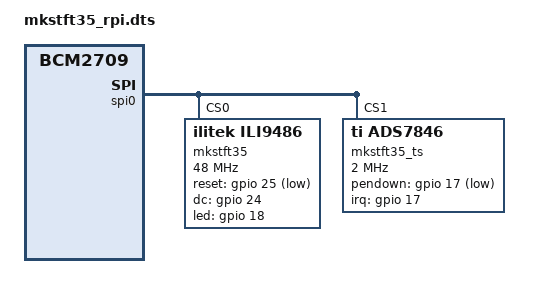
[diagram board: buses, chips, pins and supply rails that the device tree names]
/*
 * Device Tree overlay for MKS TFT35 V1.0 - 3.5inch IPS LCD
 * Driver LCD - ilitek ili9488
 * Driver touchscreen - ads7846 (xpt2046)
 * info: http://hardlock.org.ua/TFT35
 * uncomment this line in /boot/config.txt
 * "dtparam=spi=on"
 * this option will enable SPI0
 */

/dts-v1/;
/plugin/;

/ {
	compatible = "brcm,bcm2835", "brcm,bcm2708", "brcm,bcm2709";

	fragment@0 {
		target = <&spi0>;
		__overlay__ {
			status = "okay";

			spidev@0 {
				status = "disabled";
			};

			spidev@1 {
				status = "disabled";
			};
		};
	};

	fragment@1 {
		target = <&gpio>;
		__overlay__ {
			mkstft35_pins: mkstft35_pins {
				brcm,pins = <18 25 24 17>;
				brcm,function = <1 1 1 0>; /* out out out in */
			};
		};
	};

	fragment@2 {
		target = <&spi0>;
		__overlay__ {
			/* needed to avoid dtc warning */
			#address-cells = <1>;
			#size-cells = <0>;

			mkstft35: mkstft35@0 {
				compatible = "ilitek,ili9486";
				reg = <0>;
				pinctrl-names = "default";
				pinctrl-0 = <&mkstft35_pins>;

				spi-max-frequency = <48000000>;
				//txbuflen = <32768>;
				rotate = <90>;
				bgr;
				fps = <30>;
				buswidth = <8>;
				regwidth = <16>;
				reset-gpios = <&gpio 25 1>;
				dc-gpios = <&gpio 24 0>;
				led-gpios = <&gpio 18 0>;
				debug = <0>;

				init = <
					0x10000E0   	//Positive Gamma Control 
					//0x00 0x07 0x0C 0x05 0x13 0x09 0x36 0xAA 0x46 0x09 0x10 0x0D 0x1A 0x1E 0x0F 	//from datasheet
					0x00 0x03 0x09 0x08 0x16 0x0A 0x3F 0x78 0x4C 0x09 0x0A 0x08 0x16 0x1A 0x0F 		//from https://github.com/notro/fbtft/issues/582#issuecomment-1060819893
					
					0x10000E1 		//Negative Gamma Control
					//0x00 0x20 0x23 0x04 0x10 0x06 0x37 0x56 0x49 0x04 0x0C 0x0A 0x33 0x37 0x0F 	//from datasheet
					0x00 0x16 0x19 0x03 0x0F 0x05 0x32 0x45 0x46 0x04 0x0E 0x0D 0x35 0x37 0x0F		//from https://github.com/notro/fbtft/issues/582#issuecomment-1060819893
					
					0x10000C0  		//Power Control 1
					0x17 0x15
					
					0x10000C1  		//Power Control 2
					0x41
					
					0x10000C5  		//VCOM Control 1
					0x00 0x12 0x80
					
					0x1000036		//Memory Access Control
					0x48			// MV, BGR (landscape)
					
					0x100003A 		//INTERFACE_PIXEL_FORMAT (0x66) - 262k color
					//0x66			// 18 bit colour for SPI
					0x55  		// 16 bit colour for parallel
					
					//0x10000B0 		//Interface Mode Control 219 page. 0x80 - SDO (MOSI) pin not used.
					//0x80
					
					0x10000B1 		//Frame Rate Control
					0xA0
					
					0x10000B4 		//Display Inversion Control
					0x02
					
					0x10000B6 		//Display Function Control
					0x02 0x02 0x3B
					
					0x10000B7 		// Entry Mode Set p.233
					0x86
					
					0x10000E9 		//Set Image Function
					0x00
					
					0x10000F7 		//Adjust Control 3
					0xA9 0x51 0x2C 0x82
					
					0x1000011 		//Sleep out
					0x2000096		//delay 150
					0x1000029		//Display On
					0x2000019>;		//delay 20
				
				
			};

			mkstft35_ts: mkstft35-ts@1 {
				compatible = "ti,ads7846";
				reg = <1>;

				spi-max-frequency = <2000000>;
				interrupts = <17 2>; /* high-to-low edge triggered */
				interrupt-parent = <&gpio>;
				pendown-gpio = <&gpio 17 1>;
				ti,x-plate-ohms = /bits/ 16 <60>;
				ti,pressure-max = /bits/ 16 <255>;
			};
		};
	};
	__overrides__ {
		speed =		<&mkstft35>,"spi-max-frequency:0";
		txbuflen =	<&mkstft35>,"txbuflen:0";
		rotate =	<&mkstft35>,"rotate:0";
		fps =		<&mkstft35>,"fps:0";
		bgr =		<&mkstft35>,"bgr:0";
		debug =		<&mkstft35>,"debug:0";
		swapxy =	<&mkstft35_ts>,"ti,swap-xy?";
	};
};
